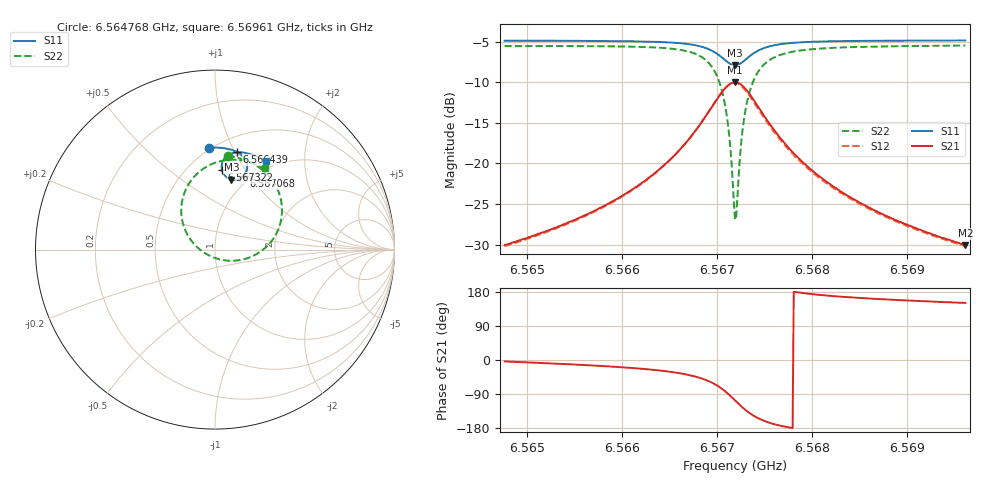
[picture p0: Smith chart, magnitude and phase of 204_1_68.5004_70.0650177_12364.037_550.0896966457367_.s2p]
#  HZ  S  RI  R  50.00
! Rohde & Schwarz Vector Network Analyzer
! Rohde-Schwarz,ZNB20-2Port,1311601062101988,3.16
! Created: UTC 3/20/2024, 5:12:52 PM
! freq[Hz]  re:S11  im:S11  re:S21  im:S21  re:S12  im:S12  re:S22  im:S22
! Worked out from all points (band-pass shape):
!   401 points, 6.564768 GHz to 6.56961 GHz, reference 50 ohm
!   highest |S21| = -10.03 dB at 6.567189 GHz (marker M1); lowest = -30.1 dB at 6.56961 GHz (marker M2)
!   |S21| within 3 dB of the highest: 6.566948 GHz to 6.567432 GHz (484.1 kHz wide, 0.00737 % of centre)
!   lowest |S11| = -7.9 dB at 6.567189 GHz (marker M3), VSWR 2.34, Z = 42.9 + j39.9 ohm
!   |S11| at or under -10 dB: nowhere
!   |S22| runs from -26.9 to -5.5 dB; largest |S21 - S12| = 0.016
!   S11 on the Smith chart (normalised r, x): 6.564768 GHz: 0.49, +0.82; 6.566439 GHz: 0.65, +1.02; 6.567068 GHz: 0.92, +0.94; 6.567322 GHz: 0.71, +0.79; 6.56961 GHz: 0.88, +1.30
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6.5647683e9  -0.0308 0.5682  0.0313 -0.00222  0.0308 -0.0026  0.0711 0.5217
6.5655792e9  0.0373 0.5664  0.0459 -0.0105  0.045 -0.0111  0.1528 0.5036
6.5660392e9  0.08 0.5592  0.0611 -0.0221  0.0602 -0.0228  0.2125 0.4785
6.5663902e9  0.1174 0.5463  0.0812 -0.0422  0.08 -0.0432  0.273 0.437
6.5664386e9  0.1231 0.5434  0.0848 -0.0468  0.0835 -0.0477  0.283 0.4281
6.5666928e9  0.1553 0.5198  0.1074 -0.0869  0.1058 -0.0887  0.3418 0.3494
6.5668743e9  0.1766 0.4832  0.1187 -0.151  0.1155 -0.1542  0.3733 0.2256
6.5669832e9  0.1778 0.4457  0.1024 -0.2169  0.0964 -0.2212  0.347 0.1001
6.567068e9  0.1592 0.4107  0.0532 -0.2767  0.0427 -0.2798  0.2549 -0.0105
6.5671164e9  0.1368 0.3949  0.00362 -0.3016  -0.00957 -0.302  0.1625 -0.0534
6.5671406e9  0.1227 0.3901  -0.0262 -0.3077  -0.0403 -0.306  0.1077 -0.0617
6.5671769e9  0.0994 0.3892  -0.0739 -0.3059  -0.0882 -0.3003  0.0222 -0.0534
6.567189e9  0.0918 0.3904  -0.0897 -0.3021  -0.1036 -0.2953  -0.0056 -0.0446
6.5672011e9  0.0842 0.3926  -0.1049 -0.2968  -0.1185 -0.2887  -0.0322 -0.0332
6.5672132e9  0.0769 0.3957  -0.1197 -0.2901  -0.1325 -0.2808  -0.0573 -0.019
6.5672616e9  0.0532 0.4143  -0.1681 -0.2513  -0.177 -0.2386  -0.1367 0.0565
6.5673221e9  0.0381 0.4447  -0.2002 -0.1909  -0.2036 -0.1776  -0.1834 0.1668
6.567419e9  0.0416 0.4877  -0.202 -0.108  -0.2002 -0.0976  -0.1721 0.3113
6.5675642e9  0.069 0.5229  -0.1667 -0.0394  -0.163 -0.0338  -0.0959 0.4263
6.5679999e9  0.1399 0.5422  -0.0898 0.00991  -0.0875 0.0112  0.07 0.4992
6.5688108e9  0.2204 0.5245  -0.0436 0.0163  -0.0426 0.0167  0.2028 0.4846
6.5696097e9  0.2814 0.4964  -0.0273 0.0153  -0.0267 0.0157  0.2788 0.4524
